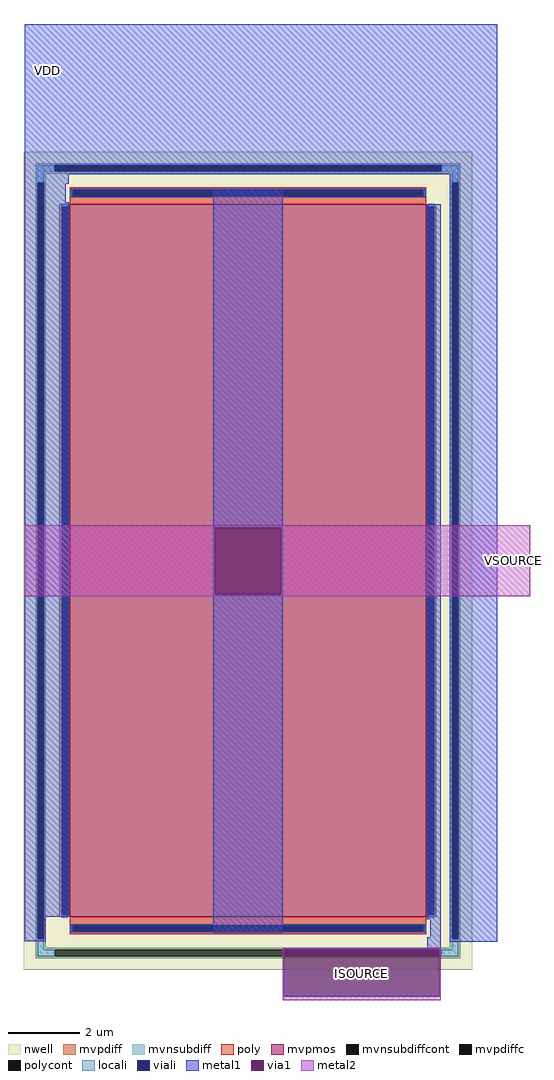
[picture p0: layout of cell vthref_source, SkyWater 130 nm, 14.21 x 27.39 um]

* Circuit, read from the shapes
.subckt vthref_source VDD ISOURCE VSOURCE
XM1 ISOURCE VSOURCE VDD VDD sky130_fd_pr__pfet_g5v0d10v5 w=20 l=10
.ends

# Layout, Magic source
magic
tech sky130A
magscale 1 2
<< nwell >>
rect 14200 4078 16368 4112
rect 14104 -230 14138 4016
rect 16430 -230 16464 4016
<< mvnsubdiffcont >>
rect 14200 4078 16368 4112
rect 14104 -230 14138 4016
rect 16430 -230 16464 4016
<< viali >>
rect 14200 4078 16368 4112
rect 14104 -230 14138 4016
rect 16430 -230 16464 4016
<< metal1 >>
rect 14032 4112 16684 4906
rect 14032 4078 14200 4112
rect 16368 4078 16684 4112
rect 14032 4062 16684 4078
rect 14032 4016 14279 4062
rect 14032 -230 14104 4016
rect 14138 4008 14279 4016
rect 16417 4016 16684 4062
rect 14138 3906 14260 4008
rect 14138 -107 14279 3906
rect 15088 2082 15480 3980
rect 15088 1703 15098 2082
rect 15471 1703 15480 2082
rect 14138 -230 14150 -107
rect 15088 -195 15480 1703
rect 16290 -120 16366 3893
rect 16308 -222 16366 -120
rect 14032 -243 14150 -230
rect 16290 -280 16366 -222
rect 16417 -230 16430 4016
rect 16464 -230 16684 4016
rect 16417 -245 16684 -230
rect 15478 -288 16366 -280
rect 15478 -552 15485 -288
rect 16357 -552 16366 -288
<< via1 >>
rect 15098 1703 15471 2082
rect 15485 -552 16357 -288
<< metal2 >>
rect 14032 2082 16868 2093
rect 14032 1703 15098 2082
rect 15471 1703 16868 2082
rect 14032 1693 16868 1703
rect 15478 -288 16366 -280
rect 15478 -552 15485 -288
rect 16357 -552 16366 -288
rect 15478 -573 16366 -552
use sky130_fd_pr__pfet_g5v0d10v5_FLATX6  sky130_fd_pr__pfet_g5v0d10v5_FLATX6_4
transform 1 0 15284 0 1 1893
box -1258 -2297 1258 2297
<< labels >>
flabel metal2 s 16685 1693 16868 2093 0 FreeSans 1600 0 0 0 VSOURCE
port 3 nsew
flabel metal2 s 15478 -573 16366 -280 0 FreeSans 1600 0 0 0 ISOURCE
port 2 nsew
flabel metal1 14032 4388 14288 4906 0 FreeSans 1600 0 0 0 VDD
port 1 nsew
<< end >>

# cell sky130_fd_pr__pfet_g5v0d10v5_FLATX6: kit device sky130_fd_pr__pfet_g5v0d10v5, w 20 l 10 m 1 nf 1 diffcov 100 polycov 100 guard 1 glc 1 grc 1 gtc 1 gbc 1 tbcov 100 rlcov 100 topc 1 botc 1 poverlap 0 doverlap 1 lmin 0.50 wmin 0.42 compatible {sky130_fd_pr__pfet_01v8 sky130_fd_pr__pfet_01v8_lvt sky130_fd_pr__pfet_01v8_hvt sky130_fd_pr__pfet_g5v0d10v5} full_metal 1 viasrc 100 viadrn 100 viagate 100 viagb 0 viagr 0 viagl 0 viagt 0
